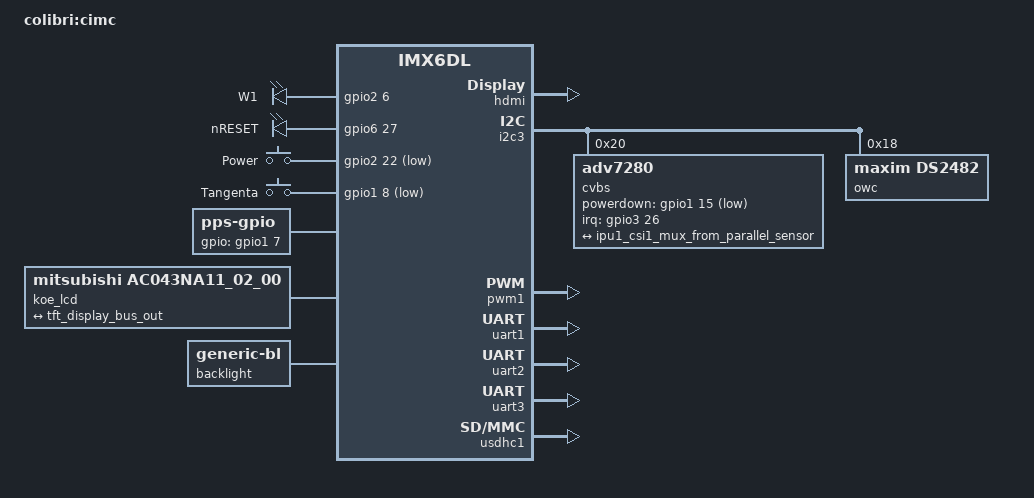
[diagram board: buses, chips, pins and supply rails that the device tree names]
/*
 * Copyright 2014-2016 Toradex AG
 * Copyright 2012 Freescale Semiconductor, Inc.
 * Copyright 2011 Linaro Ltd.
 *
 * This file is dual-licensed: you can use it either under the terms
 * of the GPL or the X11 license, at your option. Note that this dual
 * licensing only applies to this file, and not this project as a
 * whole.
 *
 *  a) This file is free software; you can redistribute it and/or
 *     modify it under the terms of the GNU General Public License
 *     version 2 as published by the Free Software Foundation.
 *
 *     This file is distributed in the hope that it will be useful
 *     but WITHOUT ANY WARRANTY; without even the implied warranty of
 *     MERCHANTABILITY or FITNESS FOR A PARTICULAR PURPOSE.  See the
 *     GNU General Public License for more details.
 *
 * Or, alternatively
 *
 *  b) Permission is hereby granted, free of charge, to any person
 *     obtaining a copy of this software and associated documentation
 *     files (the "Software"), to deal in the Software without
 *     restriction, including without limitation the rights to use
 *     copy, modify, merge, publish, distribute, sublicense, and/or
 *     sell copies of the Software, and to permit persons to whom the
 *     Software is furnished to do so, subject to the following
 *     conditions:
 *
 *     The above copyright notice and this permission notice shall be
 *     included in all copies or substantial portions of the Software.
 *
 *     THE SOFTWARE IS PROVIDED , WITHOUT WARRANTY OF ANY KIND
 *     EXPRESS OR IMPLIED, INCLUDING BUT NOT LIMITED TO THE WARRANTIES
 *     OF MERCHANTABILITY, FITNESS FOR A PARTICULAR PURPOSE AND
 *     NONINFRINGEMENT. IN NO EVENT SHALL THE AUTHORS OR COPYRIGHT
 *     HOLDERS BE LIABLE FOR ANY CLAIM, DAMAGES OR OTHER LIABILITY
 *     WHETHER IN AN ACTION OF CONTRACT, TORT OR OTHERWISE, ARISING
 *     FROM, OUT OF OR IN CONNECTION WITH THE SOFTWARE OR THE USE OR
 *     OTHER DEALINGS IN THE SOFTWARE.
 */

/dts-v1/;

#include <dt-bindings/input/input.h>
#include <dt-bindings/interrupt-controller/irq.h>
#include "imx6dl.dtsi"
#include "imx6qdl-colibri-ravion.dtsi"

/ {
	model = "colibri:cimc";
	compatible = "toradex,mcp", "toradex,colibri_imx6dl-eval",
		"toradex,colibri_imx6dl", "fsl,imx6dl";

	/*
	 * Device specific leds
	 */
	gpio-leds {
		compatible = "gpio-leds";
		pinctrl-names = "default";
		pinctrl-0 = <&pinctrl_gpio_leds>;

		w1 {
			label = "W1";
			gpios = <&gpio2 6 GPIO_ACTIVE_HIGH>;
			default-state = "on";
		};

		nreset {
			label = "nRESET";
			gpios = <&gpio6 27 GPIO_ACTIVE_HIGH>;
			default-state = "off";
		};
	};

	/*
	 * Device specific keys
	 */
	gpio-keys {
		compatible = "gpio-keys";
		pinctrl-names = "default";
		pinctrl-0 = <&pinctrl_gpio_keys>;

		power {
			label = "Power";
			gpios = <&gpio2 22 GPIO_ACTIVE_LOW>; /* SODIMM 45 */
			linux,code = <KEY_POWER>;
			debounce-interval = <100>;
			wakeup-source;
		};

		tangenta {
			label = "Tangenta";
			gpios = <&gpio1 8 GPIO_ACTIVE_LOW>; /* SODIMM 63 - GPIO2 */
			linux,code = <KEY_F2>;
			debounce-interval = <100>;
		};
	};

	/*
	 * PPS pin from SNS receiver
	 */
	pps {
		compatible = "pps-gpio";
		pinctrl-names = "default";
		pinctrl-0 = <&pinctrl_pps_gpio>;

		gpios = <&gpio1 7 GPIO_ACTIVE_HIGH>; /* soDimm 55 - GPIO1 board */
		assert-falling-edge;
		status = "okay";
	};


	/*
	 * LCD Panel (Warning! TFT=>LVDS=>TFT transparent)
	 */
	koe_lcd: panel {
		compatible = "mitsubishi,ac043na11_02_00";
/*		backlight = <&backlight>; */
		status = "okay";

		port {
			panel_in: endpoint {
				remote-endpoint = <&tft_display_bus_out>;
			};
		};
	};

	backlight: backlight {
		compatible = "generic-bl";
		status = "okay";
	};


	/* Workaround: On CIMC board we use USB-based sound */
	/delete-node/sound;
};

&i2c2{
	/* Workaround: On CIMC board we use USB-based sound */
	/delete-node/codec;
};

/*
 * Display subsystem
 */
&tft_display_bus_out {
	remote-endpoint = <&panel_in>;
};

&hdmi { status = "okay"; };

/*
 * Colibri I2C: I2C3_SDA/SCL on SODIMM 194/196 (e.g. RTC on carrier board)
 */
&i2c3 {
	status = "okay";

	/* Composite video capture interface */
	cvbs: adv7280@20 {
		reg = <0x20>;
		compatible = "adv7280", "adi,adv7280";
		pinctrl-names = "default";
		pinctrl-0 = <&pinctrl_adv7280>;
		interrupt-parent = <&gpio3>;
		interrupts = <26 IRQ_TYPE_LEVEL_LOW>;
		powerdown-gpios = <&gpio1 15 GPIO_ACTIVE_LOW>;
		input-names = "Ain1","Ain2","Ain3","Ain4";
		inputs = <0x00 0x01 0x02 0x03>;
		status = "okay";

		port {
			adv7280_ep: endpoint {
				remote-endpoint = <&ipu1_csi1_mux_from_parallel_sensor>;
				bus-width = <8>;
			};
		};
	};

	/* DS2484: I2C to OneWire Converter */
	owc: ds2482@18 {
		status = "okay";
		compatible = "maxim,ds2482";
		reg = <0x18>;
	};
};

&ipu1_csi1 {
	pinctrl-names = "default";
	pinctrl-0 = <&pinctrl_ipu1_csi1>;
};

&ipu1_csi1_from_ipu1_csi1_mux {
};

&ipu1_csi1_mux_from_parallel_sensor {
	remote-endpoint = <&adv7280_ep>;
};

/* Only pwm1 used as bright contol, all other - disabled  */
&pwm1 { status = "okay";	}; /* soDimm 28 - LCD bright */

&uart1 { status = "okay"; }; /* default full feature uart */
&uart2 { status = "okay"; }; /* default have CTS/RTS pins */
&uart3 { status = "okay"; }; /* default 3-wire uart */

/* external mmc card */
&usdhc1 { status = "okay"; };

/* Board specific io muxing */
&iomuxc {
	pinctrl_adv7280: gpio-adv7280 {
		fsl,pins = <
			MX6QDL_PAD_EIM_D26__GPIO3_IO26	0x1b0b0 /* soDimm 71: CIF_D0/CIF_IRQn */
			MX6QDL_PAD_SD2_DAT0__GPIO1_IO15	0x0f058 /* soDimm 98: CIF_D1/CIF_nPDN */
		>;
	};

	pinctrl_gpio_leds: gpio-leds {
		fsl,pins = <
			MX6QDL_PAD_RGMII_RD1__GPIO6_IO27 0xf058 /* PU_22K interal RGMII_RD1 - nRESET OUT */
			MX6QDL_PAD_NANDF_D6__GPIO2_IO06	0x0f058 /* PU_22K soDImm 127: SLPZ@DS2484R   */
		>;
	};

	pinctrl_gpio_keys: gpiokeys {
		fsl,pins = <
			MX6QDL_PAD_EIM_A16__GPIO2_IO22		0x1b0b0	/* Power button */
			MX6QDL_PAD_GPIO_8__GPIO1_IO08		0x1b0b0 /* External tangenta */
		>;
	};

	pinctrl_pps_gpio: gpiopps {
		fsl,pins = <
			MX6QDL_PAD_GPIO_7__GPIO1_IO07		0x1b0b0 /* soDimm 55 */
		>;
	};
};
